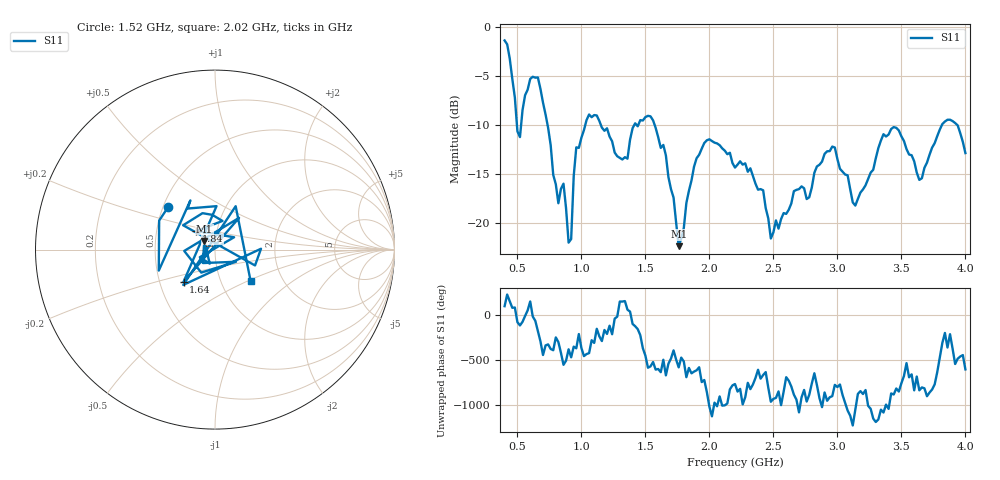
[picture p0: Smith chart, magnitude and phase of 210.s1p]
!Created with skrf (http://scikit-rf.org).
# Hz S RI R 50.0
!freq ReS11 ImS11
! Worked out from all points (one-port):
!   181 points, 400 MHz to 4 GHz, reference 50 ohm
!   lowest |S11| = -22.3 dB at 1.76 GHz (marker M1), VSWR 1.17, Z = 44.2 + j4.25 ohm
!   |S11| at or under -10 dB: 736 MHz to 1.03 GHz (294 MHz wide, 33.3 % of centre); 1.153 GHz to 1.412 GHz (259.7 MHz wide, 20.3 % of centre); 1.573 GHz to 3.816 GHz (2.243 GHz wide, 83.3 % of centre) (the widest 3 of 6)
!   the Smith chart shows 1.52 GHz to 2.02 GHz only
!   S11 on the Smith chart (normalised r, x): 1.52 GHz: 0.53, +0.29; 1.64 GHz: 0.66, -0.25; 1.84 GHz: 0.80, +0.17; 2.02 GHz: 1.38, -0.51
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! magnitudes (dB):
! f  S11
! 400 MHz  -1.4
! 500 MHz  -10.6
! 660 MHz  -5.1
! 820 MHz  -18.0
! 860 MHz  -16.0
! 900 MHz  -22.0
! 920 MHz  -21.6
! 960 MHz  -12.3
! 1.06 GHz  -8.9
! 1.3 GHz  -13.3
! 1.52 GHz  -9.1
! 1.64 GHz  -12.0
! 1.76 GHz  -22.3
! 1.84 GHz  -16.7
! 2.02 GHz  -11.6
! 2.2 GHz  -14.3
! 2.42 GHz  -16.6
! 2.48 GHz  -21.5
! 2.66 GHz  -16.7
! 2.78 GHz  -17.3
! 2.96 GHz  -12.2
! 3.1 GHz  -16.5
! 3.14 GHz  -18.2
! 3.44 GHz  -10.2
! 3.56 GHz  -13.0
! 3.66 GHz  -15.4
! 3.86 GHz  -9.5
! 4 GHz  -12.8
